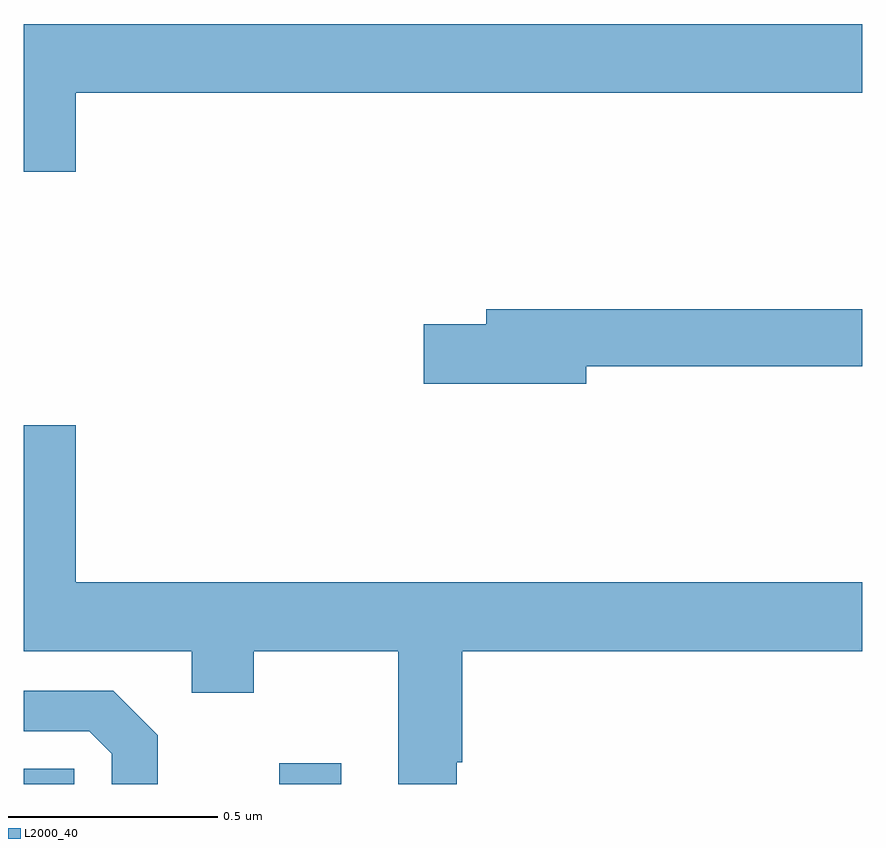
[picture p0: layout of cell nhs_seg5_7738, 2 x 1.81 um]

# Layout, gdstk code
import gdstk
lib = gdstk.Library(unit=1e-6, precision=1e-09)
def R(c, l, rs):  # rectangles x0, y0, x1, y1
    for r in rs: c.add(gdstk.rectangle(r[:2], r[2:], *l))
def P(c, l, *ps):  # polygons
    for p in ps: c.add(gdstk.Polygon(p, *l))
L2000_40 = (2000, 40)

nhs_seg5_7738 = lib.new_cell('nhs_seg5_7738')
R(nhs_seg5_7738, L2000_40, [(213,833.799,213.12,833.835), (213.609,833.799,213.757,833.848)])
P(nhs_seg5_7738, L2000_40, [(213.124,835.448),(215,835.448),(215,835.612),(213,835.612),(213,835.26),(213.124,835.26)],
  [(214.342,834.796),(215,834.796),(215,834.932),(214.103,834.932),(214.103,834.896),(213.954,834.896),(213.954,834.754),(214.342,834.754)],
  [(214.033,833.851),(214.046,833.851),(214.046,834.116),(215,834.116),(215,834.28),(213.124,834.28),(213.124,834.655),(213,834.655),(213,834.116),(213.401,834.116),(213.401,834.017),(213.549,834.017),(213.549,834.116),(213.893,834.116),(213.893,833.799),(214.033,833.799)],
  [(213.319,833.915),(213.213,834.021),(213,834.021),(213,833.925),(213.156,833.925),(213.21,833.871),(213.21,833.799),(213.319,833.799)])

lib.write_gds('nhs_seg5_7738.gds')
